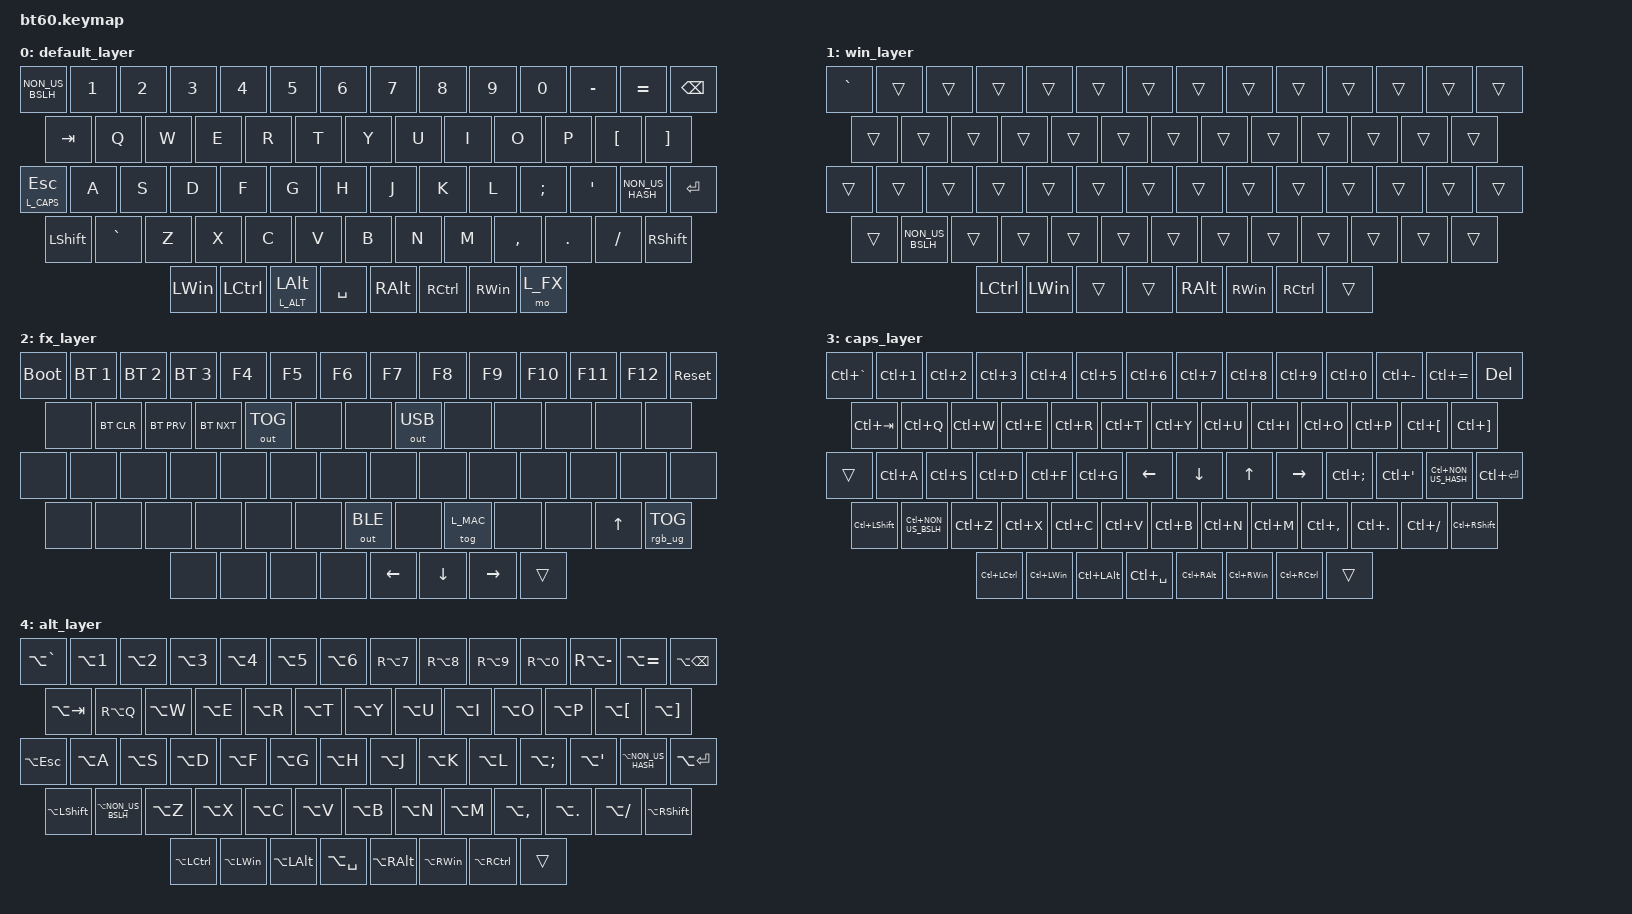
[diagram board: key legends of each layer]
#include <behaviors.dtsi>
#include <dt-bindings/zmk/keys.h>
#include <dt-bindings/zmk/bt.h>
#include <dt-bindings/zmk/rgb.h>
#include <dt-bindings/zmk/backlight.h>
#include <dt-bindings/zmk/outputs.h>

#define DEFAULT 0
#define L_MAC   1
#define L_FX    2
#define L_CAPS  3
#define L_ALT   4

/ {
	keymap {
		compatible = "zmk,keymap";

		default_layer {
				// ------------------------------------------------------------------------------------------
				// |  `  |  1  |  2  |  3  |  4  |  5  |  6  |  7  |  8  |  9  |  0  |  -  |  =  |   BKSP
				// | TAB  |  Q  |  W  |  E  |  R  |  T  |  Y  |  U  |  I  |  O  |  P  |  [  |  ]  |        |
				// | CAPS  |  A  |  S  |  D  |  F  |  G  |  H  |  J  |  K  |  L  |  ;  |  '  |  #  | ENTER |
				// |  SHIFT|  \ |  Z  |  X  |  C  |  V  |  B  |  N  |  M  |  ,  |  .  | /    |    SHIFT    |
				// |  CTL  |  WIN  |  ALT  |            SPACE               | ALT | WIN    |  CTLR    |  1 |
				// ------------------------------------------------------------------------------------------
			bindings = <

				&kp NON_US_BSLH &kp N1 &kp N2 &kp N3 &kp N4 &kp N5 &kp N6 &kp N7 &kp  N8   &kp  N9 &kp  N0  &kp MINUS &kp EQUAL &kp BSPC
				&kp TAB  &kp Q  &kp W  &kp E  &kp R  &kp T  &kp Y  &kp U  &kp  I    &kp  O  &kp  P   &kp LBKT &kp RBKT
				&lt L_CAPS ESC &kp A  &kp S  &kp D  &kp F  &kp G  &kp H  &kp J  &kp  K    &kp  L  &kp SEMI &kp SQT &kp NON_US_HASH  &kp RET
				&kp LSHFT &kp GRAVE &kp Z  &kp X  &kp C  &kp V  &kp B  &kp N  &kp M  &kp COMMA &kp DOT &kp FSLH         &kp RSHFT
				&kp LWIN &kp LCTRL &lt L_ALT LALT            &kp SPACE                          &kp RALT  &kp RCTRL &kp RWIN &mo L_FX
			>;
		};
		
		win_layer {
			bindings = <
				&kp GRAVE &trans &trans &trans &trans &trans &trans &trans &trans &trans &trans &trans &trans &trans
				&trans &trans &trans &trans &trans &trans &trans &trans &trans &trans &trans &trans &trans
				&trans &trans &trans &trans &trans &trans &trans &trans	&trans &trans &trans &trans &trans &trans
				&trans &kp NON_US_BSLH &trans &trans &trans &trans &trans &trans &trans &trans &trans &trans &trans
				&kp LCTRL &kp LWIN &trans &trans &kp RALT &kp RWIN &kp RCTRL &trans
			>;
        	};
		
		fx_layer {
			bindings = <
				&bootloader &bt BT_SEL 1 &bt BT_SEL 2 &bt BT_SEL 3 &kp F4 &kp F5 &kp F6 &kp F7 &kp F8 &kp F9 &kp F10 &kp F11 &kp F12 &sys_reset
				&none &bt BT_CLR &bt BT_PRV &bt BT_NXT &out OUT_TOG &none &none &out OUT_USB &none &none &none &none &none
				&none &none &none &none &none &none &none &none	&none &none &none &none &none &none
				&none &none &none &none &none &none &out OUT_BLE &none &tog L_MAC &none &none &kp UP &rgb_ug RGB_TOG
				&none &none &none &none &kp LEFT &kp DOWN &kp RIGHT &trans
			>;
		};
		
		caps_layer {
			bindings = <
				&kp LC(GRAVE) &kp LC(N1) &kp LC(N2) &kp LC(N3) &kp LC(N4) &kp LC(N5) &kp LC(N6) &kp LC(N7) &kp LC(N8) &kp LC(N9) &kp LC(N0) &kp LC(MINUS) &kp LC(EQUAL) &kp DEL
				&kp LC(TAB) &kp LC(Q) &kp LC(W) &kp LC(E) &kp LC(R) &kp LC(T) &kp LC(Y) &kp LC(U) &kp LC(I) &kp LC(O) &kp LC(P) &kp LC(LBKT) &kp LC(RBKT)
				&trans &kp LC(A) &kp LC(S) &kp LC(D) &kp LC(F) &kp LC(G) &kp LEFT &kp DOWN &kp UP &kp RIGHT &kp LC(SEMI) &kp LC(SQT) &kp LC(NON_US_HASH) &kp LC(RET)
				&kp LC(LSHFT) &kp LC(NON_US_BSLH) &kp LC(Z) &kp LC(X) &kp LC(C) &kp LC(V) &kp LC(B) &kp LC(N) &kp LC(M) &kp LC(COMMA) &kp LC(DOT) &kp LC(FSLH) &kp LC(RSHFT)
				&kp LC(LCTRL) &kp LC(LWIN) &kp LC(LALT) &kp LC(SPACE) &kp LC(RALT) &kp LC(RWIN) &kp LC(RCTRL) &trans
            		>;
        	};

		alt_layer {
			bindings = <
				&kp LA(GRAVE) &kp LA(N1) &kp LA(N2) &kp LA(N3) &kp LA(N4) &kp LA(N5) &kp LA(N6) &kp RA(N7) &kp RA(N8) &kp RA(N9) &kp RA(N0) &kp RA(MINUS) &kp LA(EQUAL) &kp LA(BSPC)
				&kp LA(TAB) &kp RA(Q) &kp LA(W) &kp LA(E) &kp LA(R) &kp LA(T) &kp LA(Y) &kp LA(U) &kp LA(I) &kp LA(O) &kp LA(P) &kp LA(LBKT) &kp LA(RBKT)
				&kp LA(ESC) &kp LA(A) &kp LA(S) &kp LA(D) &kp LA(F) &kp LA(G) &kp LA(H) &kp LA(J) &kp LA(K) &kp LA(L) &kp LA(SEMI) &kp LA(SQT) &kp LA(NON_US_HASH) &kp LA(RET)
				&kp LA(LSHFT) &kp LA(NON_US_BSLH) &kp LA(Z) &kp LA(X) &kp LA(C)	&kp LA(V) &kp LA(B) &kp LA(N) &kp LA(M)	&kp LA(COMMA) &kp LA(DOT) &kp LA(FSLH) &kp LA(RSHFT)
				&kp LA(LCTRL) &kp LA(LWIN) &kp LA(LALT) &kp LA(SPACE) &kp LA(RALT) &kp LA(RWIN) &kp LA(RCTRL) &trans
			>;
		};
	};
};
